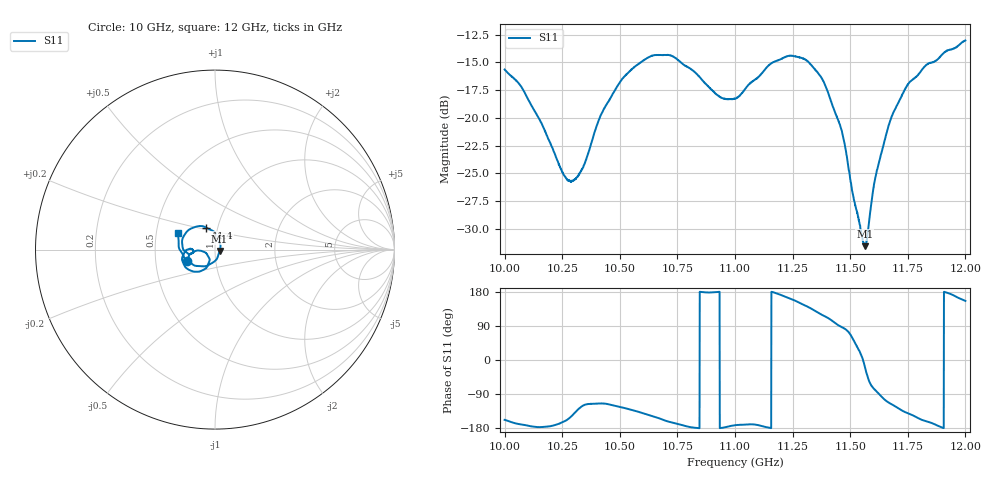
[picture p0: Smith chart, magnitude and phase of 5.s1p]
[Version] 2.0
! Rohde & Schwarz Vector Network Analyzer
! Rohde-Schwarz,ZNL20-2Port,1323001220200009,1.71.1.10-23.02.1.238
! Port Assignments:
! Nominal Port -> Actual Test Port
!  1 -> 1
! Created: GMT 2024-08-27 12:48:36
# Hz S DB R 50
[Number of Ports] 1
! freq[Hz]  S11[mag dB]  S11[ang]
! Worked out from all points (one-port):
!   2001 points, 10 GHz to 12 GHz, reference 50 ohm
!   lowest |S11| = -31.5 dB at 11.56 GHz (marker M1), VSWR 1.05, Z = 52.6 - j0.807 ohm
!   |S11| at or under -10 dB: start of sweep to end of sweep
!   S11 on the Smith chart (normalised r, x): 10 GHz: 0.73, -0.09; 11.4 GHz: 0.88, +0.22; 12 GHz: 0.65, +0.12
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[Number of Frequencies] 28
[Network Data]
1e10  -15.63 -158.0
1.008e10  -17.47 -171.0
1.0162e10  -20.57 -177.0
1.025e10  -24.85 -164.6
1.0284e10  -25.65 -151.9
1.0324e10  -25.02 -127.9
1.0417e10  -19.76 -114.8
1.05e10  -16.78 -123.9
1.0637e10  -14.42 -147.3
1.075e10  -14.73 -168.4
1.093e10  -18.05 179.9
1.1e10  -18.27 -172.1
1.1103e10  -16.29 -172.2
1.116e10  -15.04 179.7
1.125e10  -14.40 159.4
1.1323e10  -15.06 138.1
1.1401e10  -17.57 111.7
1.1463e10  -21.13 86.8
1.15e10  -25.51 67.9
1.1551e10  -30.56 8.5
1.1563e10  -31.55 -16.8
1.1574e10  -30.74 -40.3
1.1609e10  -25.38 -79.2
1.1658e10  -21.34 -108.7
1.1687e10  -19.53 -119.2
1.175e10  -17.01 -140.3
1.1909e10  -14.09 179.6
1.2e10  -13.02 155.9
[End]
